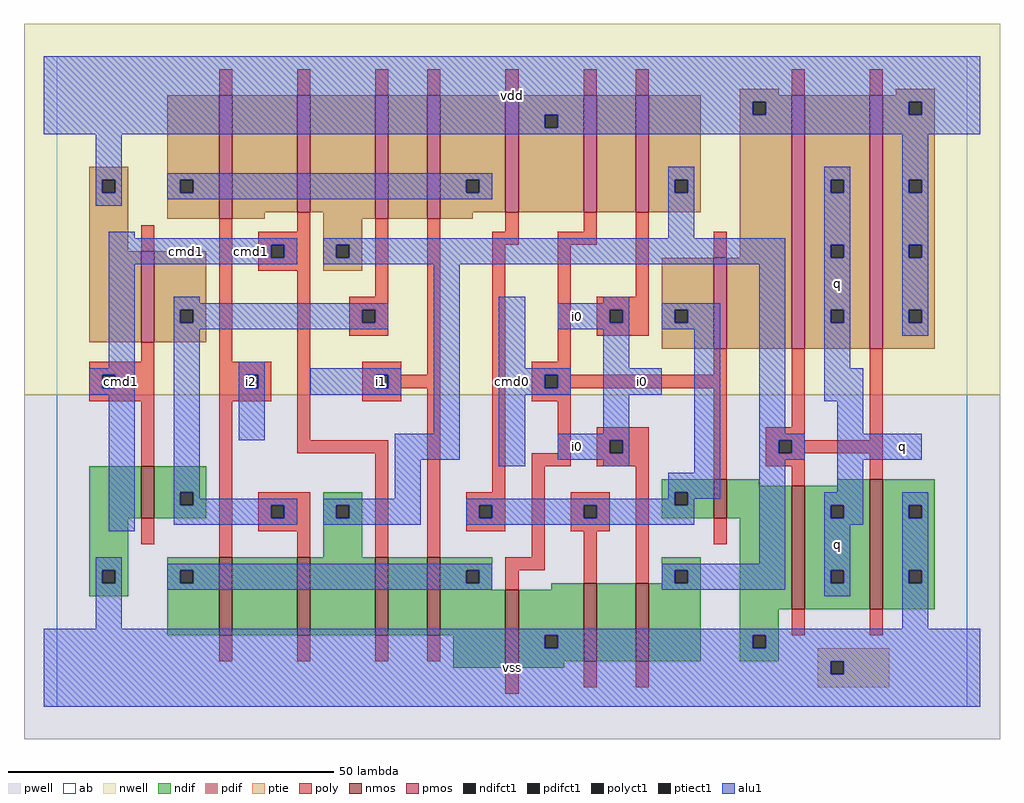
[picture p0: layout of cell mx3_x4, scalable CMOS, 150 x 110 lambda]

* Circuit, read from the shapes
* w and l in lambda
.subckt mx3_x4 cmd0 cmd1 i0 i1 i2 q vdd vss
M1 n1 cmd1 vss vss nfet w=8 l=2
M2 n2 i2 n3 vss nfet w=12 l=2
M3 n4 n1 n2 vss nfet w=12 l=2
M4 n5 cmd1 n4 vss nfet w=12 l=2
M5 n3 i1 n5 vss nfet w=12 l=2
M6 vss cmd0 n3 vss nfet w=12 l=2
M7 n6 n7 vss vss nfet w=12 l=2
M8 n4 i0 n6 vss nfet w=12 l=2
M9 vss cmd0 n7 vss nfet w=6 l=2
M10 q n4 vss vss nfet w=19 l=2
M11 vss n4 q vss nfet w=20 l=2
M12 n1 cmd1 vdd n8 pfet w=14 l=2
M13 n9 i2 n10 n8 pfet w=19 l=2
M14 n4 cmd1 n9 n8 pfet w=18 l=2
M15 n11 n1 n4 n8 pfet w=19 l=2
M16 n10 i1 n11 n8 pfet w=19 l=2
M17 vdd n7 n10 n8 pfet w=18 l=2
M18 n12 cmd0 vdd n8 pfet w=18 l=2
M19 n4 i0 n12 n8 pfet w=18 l=2
M20 vdd cmd0 n7 n8 pfet w=14 l=2
M21 q n4 vdd n8 pfet w=39 l=2 m=2
.ends

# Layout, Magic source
magic
tech scmos
<< ab >>
rect 0 0 140 100
<< nwell >>
rect -5 48 145 105
<< pwell >>
rect -5 -5 145 48
<< poly >>
rect 25 94 27 98
rect 37 94 39 98
rect 49 94 51 98
rect 57 94 59 98
rect 69 94 71 98
rect 81 94 83 98
rect 89 94 91 98
rect 113 94 115 98
rect 125 94 127 98
rect 13 70 15 74
rect 13 53 15 56
rect 5 51 15 53
rect 5 49 7 51
rect 9 49 15 51
rect 5 47 15 49
rect 13 37 15 47
rect 25 53 27 75
rect 37 73 39 76
rect 31 71 39 73
rect 31 69 33 71
rect 35 69 39 71
rect 31 67 39 69
rect 25 51 33 53
rect 25 49 29 51
rect 31 49 33 51
rect 25 47 33 49
rect 13 25 15 29
rect 25 23 27 47
rect 37 41 39 67
rect 49 63 51 75
rect 45 61 51 63
rect 45 59 47 61
rect 49 59 51 61
rect 45 57 51 59
rect 47 51 53 53
rect 57 51 59 75
rect 69 73 71 76
rect 81 73 83 76
rect 47 49 49 51
rect 51 49 59 51
rect 47 47 53 49
rect 37 39 51 41
rect 31 31 39 33
rect 31 29 33 31
rect 35 29 39 31
rect 31 27 39 29
rect 37 23 39 27
rect 49 23 51 39
rect 57 23 59 49
rect 67 71 71 73
rect 77 71 83 73
rect 67 33 69 71
rect 77 53 79 71
rect 89 63 91 76
rect 101 69 103 73
rect 83 61 91 63
rect 83 59 85 61
rect 87 59 91 61
rect 83 57 91 59
rect 73 51 79 53
rect 101 51 103 55
rect 73 49 75 51
rect 77 49 103 51
rect 73 47 79 49
rect 77 39 79 47
rect 63 31 69 33
rect 63 29 65 31
rect 67 29 69 31
rect 63 27 69 29
rect 73 37 79 39
rect 83 41 91 43
rect 83 39 85 41
rect 87 39 91 41
rect 83 37 91 39
rect 73 23 75 37
rect 79 31 85 33
rect 79 29 81 31
rect 83 29 85 31
rect 79 27 85 29
rect 69 21 75 23
rect 69 18 71 21
rect 81 19 83 27
rect 89 19 91 37
rect 101 35 103 49
rect 113 43 115 55
rect 109 41 115 43
rect 125 41 127 55
rect 109 39 111 41
rect 113 39 127 41
rect 109 37 115 39
rect 113 34 115 37
rect 125 35 127 39
rect 101 25 103 29
rect 25 7 27 11
rect 37 7 39 11
rect 49 7 51 11
rect 57 7 59 11
rect 113 11 115 15
rect 125 11 127 15
rect 69 2 71 6
rect 81 3 83 7
rect 89 3 91 7
<< ndif >>
rect 5 29 13 37
rect 15 33 23 37
rect 15 31 19 33
rect 21 31 23 33
rect 15 29 23 31
rect 5 21 11 29
rect 41 31 47 33
rect 41 29 43 31
rect 45 29 47 31
rect 41 23 47 29
rect 5 19 7 21
rect 9 19 11 21
rect 5 17 11 19
rect 17 21 25 23
rect 17 19 19 21
rect 21 19 25 21
rect 17 11 25 19
rect 27 11 37 23
rect 39 11 49 23
rect 51 11 57 23
rect 59 21 67 23
rect 59 19 63 21
rect 65 19 67 21
rect 59 18 67 19
rect 93 33 101 35
rect 93 31 95 33
rect 97 31 101 33
rect 93 29 101 31
rect 103 34 108 35
rect 120 34 125 35
rect 103 29 113 34
rect 93 21 99 23
rect 93 19 95 21
rect 97 19 99 21
rect 76 18 81 19
rect 59 11 69 18
rect 61 6 69 11
rect 71 11 81 18
rect 71 9 75 11
rect 77 9 81 11
rect 71 7 81 9
rect 83 7 89 19
rect 91 7 99 19
rect 105 15 113 29
rect 115 31 125 34
rect 115 29 119 31
rect 121 29 125 31
rect 115 21 125 29
rect 115 19 119 21
rect 121 19 125 21
rect 115 15 125 19
rect 127 31 135 35
rect 127 29 131 31
rect 133 29 135 31
rect 127 21 135 29
rect 127 19 131 21
rect 133 19 135 21
rect 127 15 135 19
rect 105 11 111 15
rect 105 9 107 11
rect 109 9 111 11
rect 105 7 111 9
rect 71 6 78 7
<< pdif >>
rect 105 94 111 95
rect 129 94 135 95
rect 5 81 11 83
rect 5 79 7 81
rect 9 79 11 81
rect 5 70 11 79
rect 17 81 25 94
rect 17 79 19 81
rect 21 79 25 81
rect 17 75 25 79
rect 27 76 37 94
rect 39 76 49 94
rect 27 75 32 76
rect 5 56 13 70
rect 15 61 23 70
rect 15 59 19 61
rect 21 59 23 61
rect 15 56 23 59
rect 41 75 49 76
rect 51 75 57 94
rect 59 81 69 94
rect 59 79 63 81
rect 65 79 69 81
rect 59 76 69 79
rect 71 91 81 94
rect 71 89 75 91
rect 77 89 81 91
rect 71 76 81 89
rect 83 76 89 94
rect 91 81 99 94
rect 91 79 95 81
rect 97 79 99 81
rect 91 76 99 79
rect 105 93 113 94
rect 105 91 107 93
rect 109 91 113 93
rect 59 75 64 76
rect 41 71 47 75
rect 41 69 43 71
rect 45 69 47 71
rect 41 67 47 69
rect 105 69 113 91
rect 93 61 101 69
rect 93 59 95 61
rect 97 59 101 61
rect 93 55 101 59
rect 103 55 113 69
rect 115 81 125 94
rect 115 79 119 81
rect 121 79 125 81
rect 115 71 125 79
rect 115 69 119 71
rect 121 69 125 71
rect 115 61 125 69
rect 115 59 119 61
rect 121 59 125 61
rect 115 55 125 59
rect 127 93 135 94
rect 127 91 131 93
rect 133 91 135 93
rect 127 81 135 91
rect 127 79 131 81
rect 133 79 135 81
rect 127 71 135 79
rect 127 69 131 71
rect 133 69 135 71
rect 127 61 135 69
rect 127 59 131 61
rect 133 59 135 61
rect 127 55 135 59
<< alu1 >>
rect -2 93 142 100
rect -2 91 107 93
rect 109 91 131 93
rect 133 91 142 93
rect -2 89 75 91
rect 77 89 142 91
rect -2 88 142 89
rect 6 81 10 88
rect 6 79 7 81
rect 9 79 10 81
rect 6 77 10 79
rect 17 81 67 82
rect 17 79 19 81
rect 21 79 63 81
rect 65 79 67 81
rect 17 78 67 79
rect 94 81 98 83
rect 94 79 95 81
rect 97 79 98 81
rect 8 72 12 73
rect 94 72 98 79
rect 118 81 122 83
rect 118 79 119 81
rect 121 79 122 81
rect 8 71 37 72
rect 8 69 33 71
rect 35 69 37 71
rect 8 68 37 69
rect 41 71 112 72
rect 41 69 43 71
rect 45 69 112 71
rect 41 68 112 69
rect 8 52 12 68
rect 5 51 12 52
rect 5 49 7 51
rect 9 49 12 51
rect 5 48 12 49
rect 8 27 12 48
rect 18 62 22 63
rect 18 61 51 62
rect 18 59 19 61
rect 21 59 47 61
rect 49 59 51 61
rect 18 58 51 59
rect 18 33 22 58
rect 28 51 32 53
rect 28 49 29 51
rect 31 49 32 51
rect 28 41 32 49
rect 39 51 53 52
rect 39 49 49 51
rect 51 49 53 51
rect 39 48 53 49
rect 58 42 62 68
rect 18 31 19 33
rect 21 32 22 33
rect 52 38 62 42
rect 68 52 72 63
rect 84 62 88 63
rect 77 61 88 62
rect 77 59 85 61
rect 87 59 88 61
rect 77 58 88 59
rect 93 61 102 62
rect 93 59 95 61
rect 97 59 102 61
rect 93 58 102 59
rect 84 52 88 58
rect 68 51 79 52
rect 68 49 75 51
rect 77 49 79 51
rect 68 48 79 49
rect 84 48 93 52
rect 52 32 56 38
rect 68 37 72 48
rect 84 42 88 48
rect 77 41 88 42
rect 77 39 85 41
rect 87 39 88 41
rect 77 38 88 39
rect 84 37 88 38
rect 98 36 102 58
rect 94 33 102 36
rect 94 32 95 33
rect 21 31 37 32
rect 18 29 33 31
rect 35 29 37 31
rect 18 28 37 29
rect 41 31 56 32
rect 41 29 43 31
rect 45 29 56 31
rect 41 28 56 29
rect 63 31 95 32
rect 97 32 102 33
rect 108 42 112 68
rect 118 71 122 79
rect 118 69 119 71
rect 121 69 122 71
rect 118 61 122 69
rect 118 59 119 61
rect 121 59 122 61
rect 118 52 122 59
rect 130 81 134 88
rect 130 79 131 81
rect 133 79 134 81
rect 130 71 134 79
rect 130 69 131 71
rect 133 69 134 71
rect 130 61 134 69
rect 130 59 131 61
rect 133 59 134 61
rect 130 57 134 59
rect 118 47 124 52
rect 120 42 124 47
rect 108 41 115 42
rect 108 39 111 41
rect 113 39 115 41
rect 108 38 115 39
rect 120 38 133 42
rect 97 31 98 32
rect 63 29 65 31
rect 67 29 81 31
rect 83 29 98 31
rect 63 28 98 29
rect 6 21 10 23
rect 108 22 112 38
rect 120 33 124 38
rect 6 19 7 21
rect 9 19 10 21
rect 6 12 10 19
rect 17 21 67 22
rect 17 19 19 21
rect 21 19 63 21
rect 65 19 67 21
rect 17 18 67 19
rect 93 21 112 22
rect 93 19 95 21
rect 97 19 112 21
rect 93 18 112 19
rect 118 31 124 33
rect 118 29 119 31
rect 121 29 124 31
rect 118 28 124 29
rect 130 31 134 33
rect 130 29 131 31
rect 133 29 134 31
rect 118 21 122 28
rect 118 19 119 21
rect 121 19 122 21
rect 118 17 122 19
rect 130 21 134 29
rect 130 19 131 21
rect 133 19 134 21
rect 130 12 134 19
rect -2 11 142 12
rect -2 9 75 11
rect 77 9 107 11
rect 109 9 142 11
rect -2 7 142 9
rect -2 5 119 7
rect 121 5 142 7
rect -2 0 142 5
<< ptie >>
rect 117 7 128 9
rect 117 5 119 7
rect 121 5 128 7
rect 117 3 128 5
<< nmos >>
rect 13 29 15 37
rect 25 11 27 23
rect 37 11 39 23
rect 49 11 51 23
rect 57 11 59 23
rect 101 29 103 35
rect 69 6 71 18
rect 81 7 83 19
rect 89 7 91 19
rect 113 15 115 34
rect 125 15 127 35
<< pmos >>
rect 25 75 27 94
rect 37 76 39 94
rect 13 56 15 70
rect 49 75 51 94
rect 57 75 59 94
rect 69 76 71 94
rect 81 76 83 94
rect 89 76 91 94
rect 101 55 103 69
rect 113 55 115 94
rect 125 55 127 94
<< polyct1 >>
rect 7 49 9 51
rect 33 69 35 71
rect 29 49 31 51
rect 47 59 49 61
rect 49 49 51 51
rect 33 29 35 31
rect 85 59 87 61
rect 75 49 77 51
rect 65 29 67 31
rect 85 39 87 41
rect 81 29 83 31
rect 111 39 113 41
<< ndifct1 >>
rect 19 31 21 33
rect 43 29 45 31
rect 7 19 9 21
rect 19 19 21 21
rect 63 19 65 21
rect 95 31 97 33
rect 95 19 97 21
rect 75 9 77 11
rect 119 29 121 31
rect 119 19 121 21
rect 131 29 133 31
rect 131 19 133 21
rect 107 9 109 11
<< ptiect1 >>
rect 119 5 121 7
<< pdifct1 >>
rect 7 79 9 81
rect 19 79 21 81
rect 19 59 21 61
rect 63 79 65 81
rect 75 89 77 91
rect 95 79 97 81
rect 107 91 109 93
rect 43 69 45 71
rect 95 59 97 61
rect 119 79 121 81
rect 119 69 121 71
rect 119 59 121 61
rect 131 91 133 93
rect 131 79 133 81
rect 131 69 133 71
rect 131 59 133 61
<< labels >>
rlabel alu1 10 50 10 50 6 cmd1
rlabel alu1 20 70 20 70 6 cmd1
rlabel polyct1 30 50 30 50 6 i2
rlabel polyct1 50 50 50 50 6 i1
rlabel alu1 30 70 30 70 6 cmd1
rlabel alu1 70 6 70 6 6 vss
rlabel alu1 80 40 80 40 6 i0
rlabel alu1 70 50 70 50 6 cmd0
rlabel alu1 80 60 80 60 6 i0
rlabel alu1 70 94 70 94 6 vdd
rlabel alu1 90 50 90 50 6 i0
rlabel alu1 120 25 120 25 6 q
rlabel alu1 130 40 130 40 6 q
rlabel alu1 120 65 120 65 6 q
<< end >>
